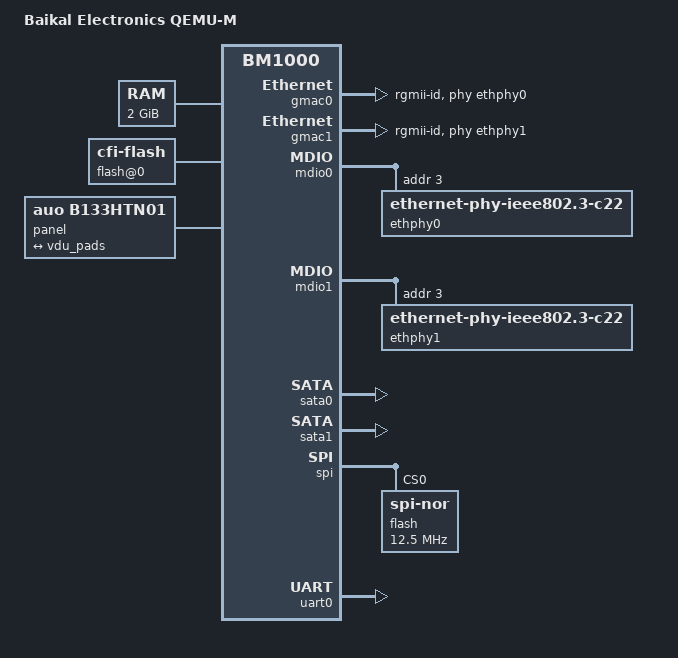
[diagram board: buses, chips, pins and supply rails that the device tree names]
// SPDX-License-Identifier: GPL-2.0
/*
 * Device tree source for Baikal-M software emulator (QEMU) platform
 * Copyright (C) 2018-2021 Baikal Electronics, JSC
 */

/dts-v1/;

#include "bm1000.dtsi"

/*
 * Device "flash@0" was added to allow UEFI to boot on emulator.
 * TODO: the tree should be replaced by actual Baikal-M component tree
 */

/ {
	model = "Baikal Electronics QEMU-M";
	compatible = "baikal,qemu-m", "baikal,bm1000";
	#address-cells = <2>;
	#size-cells = <2>;

	aliases {
		ethernet0 = &gmac0;
		ethernet1 = &gmac1;
	};

	chosen { };

	memory@80000000 {
		device_type = "memory";
		reg = <0x00000000 0x80000000 0x0 0x80000000>; /* 2 GiB */
	};

	/*
	 * Device is necessary for UEFI to boot on QEMU,
	 * need to replace it with something later.
	 */
	flash@0 {
		compatible = "cfi-flash";
		reg = <0x0 0x4000000 0x0 0x4000000>;
		bank-width = <0x4>;
	};

	panel: panel {
		compatible = "auo,b133htn01";		/* 1920x1080 */
		/*compatible = "auo,b133xtn01;		/* 1366x768 */
		/*compatible = "auo,b101aw03";		/* 1024x600 */
		/*compatible = "innolux,g121x1-l03";	/* 1024x768 */
		/*compatible = "auo,b101ean01";		/* 1280x800 */

		port {
			lcd_panel: endpoint {
				remote-endpoint = <&vdu_pads>;
			};
		};
	};

	/*panel_hdmi: panel {
		compatible = "edt,et057090dhu";

		port {
			lcd_hdmi_panel: endpoint {
				remote-endpoint = <&vdu_hdmi_pads>;
			};
		};
	};*/
};

&gmac0 {
	status = "okay";
	phy-handle = <&ethphy0>;
	phy-mode = "rgmii-id";
};

&gmac1 {
	status = "okay";
	phy-handle = <&ethphy1>;
	phy-mode = "rgmii-id";
};

&mdio0 {
	ethphy0: ethernet-phy@3 {
		compatible = "ethernet-phy-ieee802.3-c22";
		reg = <0x3>;
	};
};

&mdio1 {
	ethphy1: ethernet-phy@3 {
		compatible = "ethernet-phy-ieee802.3-c22";
		reg = <0x3>;
	};
};

&sata0 {
	status = "okay";
};

&sata1 {
	status = "okay";
};

&spi {
	num-cs = <6>;
	status = "okay";

	flash@0 {
		compatible = "jedec,spi-nor";
		reg = <0>;
		#address-cells = <1>;
		#size-cells = <1>;
		spi-max-frequency = <12500000>;
		status = "okay";

		mtd0@0 {
			label = "fip";
			reg = <0x00000000 0x00400000>;
			read-only;
		};

		mtd1@400000 {
			label = "env";
			reg = <0x00400000 0x00100000>;
		};

		mtd2@500000 {
			label = "kernel";
			reg = <0x00500000 0x00400000>;
		};

		mtd3@900000 {
			label = "rootfs";
			reg = <0x00900000 0x00800000>;
		};

		mtd4@1100000 {
			label = "data0";
			reg = <0x01100000 0x00f00000>;
		};
	};
};

&uart0 {
	status = "okay";
};

&vdu0 {
	port {
		vdu_pads: endpoint {
			remote-endpoint = <&lcd_panel>;
		};
	};
};
